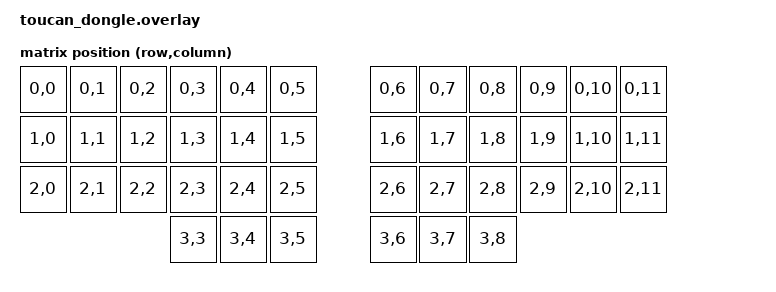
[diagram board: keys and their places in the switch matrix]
#include <input/processors.dtsi>
#include <dt-bindings/zmk/input_transform.h>
#include <dt-bindings/zmk/matrix_transform.h>
#include "toucan-layouts.dtsi"
#include <behaviors/input_gestures_accel.dtsi>

/* Do NOT include toucan.dtsi — its kscan0 GPIO matrix pins
   (gpio0 9, gpio0 10) conflict with prospector SPI MISO/MOSI */

&physical_layout0 {
    transform = <&default_transform>;
};

/ {
    chosen {
        zmk,kscan = &mock_kscan;
        zmk,physical-layout = &physical_layout0;
    };

    mock_kscan: mock_kscan_0 {
        compatible = "zmk,kscan-mock";
        columns = <0>;
        rows = <0>;
        events = <0>;
    };

    default_transform: keymap_transform_0 {
        compatible = "zmk,matrix-transform";
        columns = <12>;
        rows = <4>;
        map = <
        RC(0,0) RC(0,1) RC(0,2) RC(0,3) RC(0,4) RC(0,5)  RC(0,6) RC(0,7) RC(0,8) RC(0,9) RC(0,10) RC(0,11)
        RC(1,0) RC(1,1) RC(1,2) RC(1,3) RC(1,4) RC(1,5)  RC(1,6) RC(1,7) RC(1,8) RC(1,9) RC(1,10) RC(1,11)
        RC(2,0) RC(2,1) RC(2,2) RC(2,3) RC(2,4) RC(2,5)  RC(2,6) RC(2,7) RC(2,8) RC(2,9) RC(2,10) RC(2,11)
                                RC(3,3) RC(3,4) RC(3,5)  RC(3,6) RC(3,7) RC(3,8)
        >;
    };

    split_inputs {
        #address-cells = <1>;
        #size-cells = <0>;

        glidepoint_split: glidepoint_split@0 {
            compatible = "zmk,input-split";
            reg = <0>;
        };
    };

    pointing_accel: pointing_accel {
        compatible = "zmk,input-processor-accel";
        #input-processor-cells = <0>;
        input-type = <2>;    /* INPUT_EV_REL = 0x02 */
        scale-min = <1>;
        scale-max = <6>;
        threshold = <15>;
    };

    glidepoint_listener: glidepoint_listener {
        compatible = "zmk,input-listener";
        status = "okay";
        device = <&glidepoint_split>;
        input-processors = <&pointing_accel &zip_xy_scaler 250 100>;
        scroller {
            layers = <1 2>;
            input-processors = <
                &zip_xy_to_scroll_mapper
                &zip_scroll_scaler 1 5
                &zip_scroll_transform INPUT_TRANSFORM_X_INVERT
            >;
        };
    };
};
